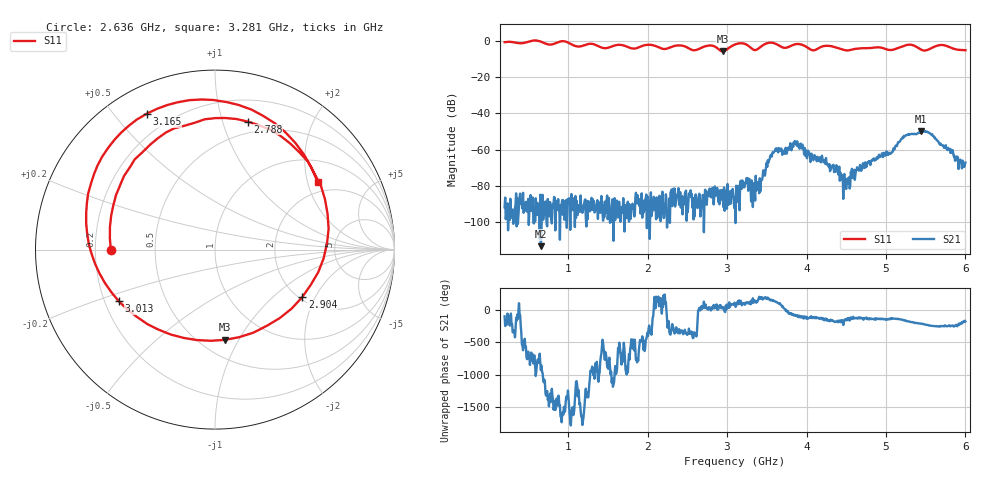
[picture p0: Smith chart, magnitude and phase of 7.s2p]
! NanoVNA-App by OneOfEleven et al v1.1.209 (+OD15)
! Date: 2024-07-30 15:24:16
! Start: 200MHz Stop: 6GHz Points: 801
! S-Parameter data: F S11 S21 S12 S22
# Hz S RI R 50
!  Frequency  S11_Real  S11_Imag  S21_Real  S21_Imag  S12_Real  S12_Imag  S22_Real  S22_Imag
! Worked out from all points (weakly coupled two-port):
!   801 points, 200 MHz to 6 GHz, reference 50 ohm
!   highest |S21| = -49.84 dB at 5.442 GHz (marker M1); lowest = -113.1 dB at 656.8 MHz (marker M2)
!   lowest |S11| = -5.9 dB at 2.948 GHz (marker M3), VSWR 3.05, Z = 32.6 - j44 ohm
!   |S11| at or under -10 dB: nowhere
!   S12 and S22 are empty: the file has one direction only
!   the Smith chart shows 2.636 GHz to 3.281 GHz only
!   S11 on the Smith chart (normalised r, x): 2.636 GHz: 0.27, -0.00; 2.788 GHz: 0.39, +1.21; 2.904 GHz: 2.07, -1.58; 3.013 GHz: 0.26, -0.24; 3.165 GHz: 0.11, +0.61; 3.281 GHz: 1.63, +2.31
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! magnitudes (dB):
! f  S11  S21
! 200 MHz  -0.8  -91.7
! 656.8 MHz  -0.6  -113.1
! 1.171 GHz  -3.0  -92.6
! 2.136 GHz  -3.6  -89.0
! 2.636 GHz  -4.7  -89.0
! 2.788 GHz  -2.7  -85.6
! 2.904 GHz  -5.1  -90.1
! 2.948 GHz  -5.9  -87.7
! 3.013 GHz  -4.3  -86.6
! 3.1 GHz  -2.1  -86.2
! 3.165 GHz  -1.4  -77.5
! 3.281 GHz  -3.3  -76.1
! 3.419 GHz  -3.5  -82.9
! 3.622 GHz  -1.9  -60.8
! 3.869 GHz  -1.9  -57.0
! 4.072 GHz  -5.2  -63.2
! 4.521 GHz  -5.4  -78.9
! 4.652 GHz  -4.3  -71.3
! 5.036 GHz  -5.1  -61.7
! 5.231 GHz  -2.7  -52.5
! 5.442 GHz  -4.9  -49.8
! 6 GHz  -5.3  -67.1
